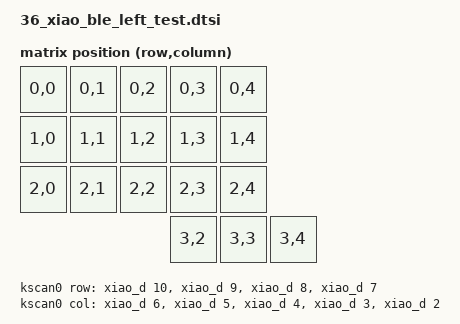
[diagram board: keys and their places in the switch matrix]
#include <dt-bindings/zmk/matrix_transform.h>

/ {
    chosen {
        zmk,kscan = &kscan0;
        zmk,matrix_transform = &default_transform;
    };

    default_transform: keymap_transform_0 {
        compatible = "zmk,matrix-transform";
        columns = <10>;
        rows = <4>;
        map = <
RC(0,0) RC(0,1) RC(0,2) RC(0,3) RC(0,4)        
RC(1,0) RC(1,1) RC(1,2) RC(1,3) RC(1,4)        
RC(2,0) RC(2,1) RC(2,2) RC(2,3) RC(2,4)        
                        RC(3,2) RC(3,3) RC(3,4)
        >;
    };

    kscan0: kscan {
        compatible = "zmk,kscan-gpio-matrix";

        diode-direction = "col2row";
        row-gpios
            = <&xiao_d 10 (GPIO_ACTIVE_HIGH | GPIO_PULL_DOWN)> // Row A from the schematic file
            , <&xiao_d 9 (GPIO_ACTIVE_HIGH | GPIO_PULL_DOWN)> // Row B from the schematic file
            , <&xiao_d 8 (GPIO_ACTIVE_HIGH | GPIO_PULL_DOWN)> // Row C from the schematic file
            , <&xiao_d 7 (GPIO_ACTIVE_HIGH | GPIO_PULL_DOWN)> // Row D from the schematic file
            ;
        col-gpios
            = <&xiao_d 6 GPIO_ACTIVE_HIGH> // col1 in the schematic
            , <&xiao_d 5 GPIO_ACTIVE_HIGH> // col2 in the schematic
            , <&xiao_d 4 GPIO_ACTIVE_HIGH> // col3 in the schematic
            , <&xiao_d 3 GPIO_ACTIVE_HIGH> // col4 in the schematic
            , <&xiao_d 2 GPIO_ACTIVE_HIGH> // col5 in the schematic
            ;

    };
};
